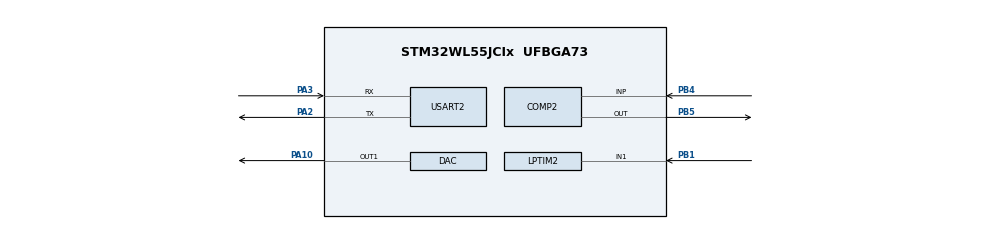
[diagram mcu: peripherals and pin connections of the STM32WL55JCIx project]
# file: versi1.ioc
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LPTIM2.TriggerSource=LPTIM_TRIGSOURCE_7
Mcu.Family=STM32WL
Mcu.Name=STM32WL55JCIx
Mcu.Package=UFBGA73
NVIC.PriorityGroup=NVIC_PRIORITYGROUP_4
OSC_IN.Mode=HSE-External-Oscillator
OSC_IN.Signal=RCC_OSC_IN
OSC_OUT.Mode=HSE-External-Oscillator
OSC_OUT.Signal=RCC_OSC_OUT
PA10.Signal=COMP_DAC1_group
PA2.Mode=Asynchronous
PA2.Signal=USART2_TX
PA3.Mode=Asynchronous
PA3.Signal=USART2_RX
PB1.Mode=Counts_external_clock_standalone_1X_occur1
PB1.Signal=LPTIM2_IN1
PB4.Mode=INP
PB4.Signal=COMP2_INP
PB5.Mode=ExternalOutput
PB5.Signal=COMP2_OUT
ProjectManager.HeapSize=0x200
ProjectManager.StackSize=0x400
ProjectManager.TargetToolchain=STM32CubeIDE
RCC.AHBFreq_Value=4000000
RCC.APB1Freq_Value=4000000
RCC.APB1TimFreq_Value=4000000
RCC.APB2Freq_Value=4000000
RCC.APB2TimFreq_Value=4000000
RCC.APB3Freq_Value=4000000
RCC.CortexFreq_Value=4000000
RCC.HCLKFreq_Value=4000000
RCC.HSE_VALUE=8000000
RCC.HSI_VALUE=16000000
RCC.LSE_VALUE=32768
RCC.SYSCLKFreq_VALUE=4000000
RCC.VCOOutputFreq_Value=32000000
SH.COMP_DAC1_group.0=DAC_OUT1,DAC_OUT1_ExtAndInt
USART2.VirtualMode-Asynchronous=VM_ASYNC
VP_COMP2_VS_DACOUT1.Mode=INM_DACOUT1
board=custom

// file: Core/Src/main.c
/* USER CODE BEGIN Header */
/**
  ******************************************************************************
  * @file           : main.c
  * @brief          : Main program body
  ******************************************************************************
  * @attention
  *
  * Copyright (c) 2022 STMicroelectronics.
  * All rights reserved.
  *
  * This software is licensed under terms that can be found in the LICENSE file
  * in the root directory of this software component.
  * If no LICENSE file comes with this software, it is provided AS-IS.
  *
  ******************************************************************************
  */
/* USER CODE END Header */
#include "main.h"

/* USER CODE BEGIN Includes */
#include <stdio.h>
/* USER CODE END Includes */

COMP_HandleTypeDef hcomp2;

DAC_HandleTypeDef hdac;

LPTIM_HandleTypeDef hlptim2;

UART_HandleTypeDef huart2;

void SystemClock_Config(void);
static void MX_GPIO_Init(void);
static void MX_DAC_Init(void);
static void MX_USART2_UART_Init(void);
static void MX_COMP2_Init(void);
static void MX_LPTIM2_Init(void);

/* USER CODE BEGIN 0 */
static void LC_GPIO_Init(void);
int _write(int file, char *ptr, int len){
	HAL_UART_Transmit(&huart2, (uint8_t*)ptr, len, HAL_MAX_DELAY);
	return len;
}

void delay_us (uint16_t us)
{
//	__HAL_TIM_SET_COUNTER(&htim2,0);  // set the counter value a 0
//	while (__HAL_TIM_GET_COUNTER(&htim2) < us);  // wait for the counter to reach the us input in the parameter
}

float val = 1.7;
uint32_t var;
/* USER CODE END 0 */

int main(void)
{

  /* MCU Configuration--------------------------------------------------------*/

  /* Reset of all peripherals, Initializes the Flash interface and the Systick. */
  HAL_Init();

  /* Configure the system clock */
  SystemClock_Config();

  /* Initialize all configured peripherals */
  MX_GPIO_Init();
  MX_DAC_Init();
  MX_USART2_UART_Init();
  MX_COMP2_Init();
  MX_LPTIM2_Init();
  /* USER CODE BEGIN 2 */
  //HAL_TIM_Base_Start_IT(&htim2);
  HAL_DAC_Start(&hdac, DAC_CHANNEL_1);
  var = val*(0xfff+1)/3.3;
  HAL_DAC_SetValue(&hdac, DAC_CHANNEL_1, DAC_ALIGN_12B_R, var);
  HAL_COMP_Start(&hcomp2);
  /* USER CODE END 2 */

  /* Infinite loop */
  while (1)
  {

    /* USER CODE BEGIN 3 */
//	  HAL_GPIO_WritePin(GPIOB, GPIO_PIN_4, SET);
//	  delay_us(2);
//	  HAL_GPIO_WritePin(GPIOB, GPIO_PIN_4, RESET);
//	  HAL_Delay(40);
//	  printf("Output Level -> %d\r\n", &hcomp2);
	  LC_GPIO_Init();

	  //printf("E:%l", HAL_LPTIM_ReadCounter(&hlptim2));
  }
  /* USER CODE END 3 */
}

void SystemClock_Config(void)
{
  RCC_OscInitTypeDef RCC_OscInitStruct = {0};
  RCC_ClkInitTypeDef RCC_ClkInitStruct = {0};

  /** Configure the main internal regulator output voltage
  */
  __HAL_PWR_VOLTAGESCALING_CONFIG(PWR_REGULATOR_VOLTAGE_SCALE2);

  /** Initializes the CPU, AHB and APB buses clocks
  */
  RCC_OscInitStruct.OscillatorType = RCC_OSCILLATORTYPE_MSI;
  RCC_OscInitStruct.MSIState = RCC_MSI_ON;
  RCC_OscInitStruct.MSICalibrationValue = RCC_MSICALIBRATION_DEFAULT;
  RCC_OscInitStruct.MSIClockRange = RCC_MSIRANGE_6;
  RCC_OscInitStruct.PLL.PLLState = RCC_PLL_NONE;
  if (HAL_RCC_OscConfig(&RCC_OscInitStruct) != HAL_OK)
  {
    Error_Handler();
  }

  /** Configure the SYSCLKSource, HCLK, PCLK1 and PCLK2 clocks dividers
  */
  RCC_ClkInitStruct.ClockType = RCC_CLOCKTYPE_HCLK3|RCC_CLOCKTYPE_HCLK
                              |RCC_CLOCKTYPE_SYSCLK|RCC_CLOCKTYPE_PCLK1
                              |RCC_CLOCKTYPE_PCLK2;
  RCC_ClkInitStruct.SYSCLKSource = RCC_SYSCLKSOURCE_MSI;
  RCC_ClkInitStruct.AHBCLKDivider = RCC_SYSCLK_DIV1;
  RCC_ClkInitStruct.APB1CLKDivider = RCC_HCLK_DIV1;
  RCC_ClkInitStruct.APB2CLKDivider = RCC_HCLK_DIV1;
  RCC_ClkInitStruct.AHBCLK3Divider = RCC_SYSCLK_DIV1;

  if (HAL_RCC_ClockConfig(&RCC_ClkInitStruct, FLASH_LATENCY_0) != HAL_OK)
  {
    Error_Handler();
  }
}

static void MX_COMP2_Init(void)
{

  hcomp2.Instance = COMP2;
  hcomp2.Init.InputMinus = COMP_INPUT_MINUS_DAC_CH1;
  hcomp2.Init.InputPlus = COMP_INPUT_PLUS_IO1;
  hcomp2.Init.OutputPol = COMP_OUTPUTPOL_NONINVERTED;
  hcomp2.Init.Hysteresis = COMP_HYSTERESIS_NONE;
  hcomp2.Init.BlankingSrce = COMP_BLANKINGSRC_NONE;
  hcomp2.Init.Mode = COMP_POWERMODE_HIGHSPEED;
  hcomp2.Init.WindowMode = COMP_WINDOWMODE_DISABLE;
  hcomp2.Init.TriggerMode = COMP_TRIGGERMODE_NONE;
  if (HAL_COMP_Init(&hcomp2) != HAL_OK)
  {
    Error_Handler();
  }

}

static void MX_DAC_Init(void)
{

  DAC_ChannelConfTypeDef sConfig = {0};

  /** DAC Initialization
  */
  hdac.Instance = DAC;
  if (HAL_DAC_Init(&hdac) != HAL_OK)
  {
    Error_Handler();
  }

  /** DAC channel OUT1 config
  */
  sConfig.DAC_SampleAndHold = DAC_SAMPLEANDHOLD_DISABLE;
  sConfig.DAC_Trigger = DAC_TRIGGER_NONE;
  sConfig.DAC_OutputBuffer = DAC_OUTPUTBUFFER_ENABLE;
  sConfig.DAC_ConnectOnChipPeripheral = DAC_CHIPCONNECT_ENABLE;
  sConfig.DAC_UserTrimming = DAC_TRIMMING_FACTORY;
  if (HAL_DAC_ConfigChannel(&hdac, &sConfig, DAC_CHANNEL_1) != HAL_OK)
  {
    Error_Handler();
  }

}

static void MX_LPTIM2_Init(void)
{

	hlptim2.Instance = LPTIM2;
	hlptim2.Init.Clock.Source = LPTIM_CLOCKSOURCE_ULPTIM;
	hlptim2.Init.Clock.Prescaler = LPTIM_PRESCALER_DIV1;
	hlptim2.Init.UltraLowPowerClock.Polarity = LPTIM_CLOCKPOLARITY_RISING;
	hlptim2.Init.UltraLowPowerClock.SampleTime = LPTIM_CLOCKSAMPLETIME_DIRECTTRANSITION;
	hlptim2.Init.Trigger.Source = LPTIM_TRIGSOURCE_SOFTWARE;
	hlptim2.Init.Trigger.ActiveEdge = LPTIM_ACTIVEEDGE_RISING;
	hlptim2.Init.Trigger.SampleTime = LPTIM_TRIGSAMPLETIME_DIRECTTRANSITION;
	hlptim2.Init.OutputPolarity = LPTIM_OUTPUTPOLARITY_HIGH;
	hlptim2.Init.UpdateMode = LPTIM_UPDATE_IMMEDIATE;
	hlptim2.Init.CounterSource = LPTIM_COUNTERSOURCE_EXTERNAL;
	hlptim2.Init.Input1Source = LPTIM_INPUT1SOURCE_COMP2;
	hlptim2.Init.Input2Source = LPTIM_INPUT2SOURCE_GPIO;
  if (HAL_LPTIM_Init(&hlptim2) != HAL_OK)
  {
	  Error_Handler();
  }
  /* USER CODE BEGIN LPTIM2_Init 2 */
  /* Start counting */
//  if (HAL_LPTIM_Counter_Start(&hlptim2, 0xFFFF) != HAL_OK)
//  {
//	  Error_Handler();
//  }
  /* USER CODE END LPTIM2_Init 2 */

}

static void MX_USART2_UART_Init(void)
{

  huart2.Instance = USART2;
  huart2.Init.BaudRate = 115200;
  huart2.Init.WordLength = UART_WORDLENGTH_8B;
  huart2.Init.StopBits = UART_STOPBITS_1;
  huart2.Init.Parity = UART_PARITY_NONE;
  huart2.Init.Mode = UART_MODE_TX_RX;
  huart2.Init.HwFlowCtl = UART_HWCONTROL_NONE;
  huart2.Init.OverSampling = UART_OVERSAMPLING_16;
  huart2.Init.OneBitSampling = UART_ONE_BIT_SAMPLE_DISABLE;
  huart2.Init.ClockPrescaler = UART_PRESCALER_DIV1;
  huart2.AdvancedInit.AdvFeatureInit = UART_ADVFEATURE_NO_INIT;
  if (HAL_UART_Init(&huart2) != HAL_OK)
  {
    Error_Handler();
  }
  if (HAL_UARTEx_SetTxFifoThreshold(&huart2, UART_TXFIFO_THRESHOLD_1_8) != HAL_OK)
  {
    Error_Handler();
  }
  if (HAL_UARTEx_SetRxFifoThreshold(&huart2, UART_RXFIFO_THRESHOLD_1_8) != HAL_OK)
  {
    Error_Handler();
  }
  if (HAL_UARTEx_DisableFifoMode(&huart2) != HAL_OK)
  {
    Error_Handler();
  }

}

static void MX_GPIO_Init(void)
{

  /* GPIO Ports Clock Enable */
  __HAL_RCC_GPIOB_CLK_ENABLE();
  __HAL_RCC_GPIOA_CLK_ENABLE();

}

/* USER CODE BEGIN 4 */
static void LC_GPIO_Init(void){
	__HAL_RCC_GPIOC_CLK_ENABLE();
	__HAL_RCC_GPIOH_CLK_ENABLE();
	__HAL_RCC_GPIOA_CLK_ENABLE();
	__HAL_RCC_GPIOB_CLK_ENABLE();

	GPIO_InitTypeDef GPIO_InitStruct = {0};
	GPIO_InitStruct.Mode = GPIO_MODE_AF_PP;
	GPIO_InitStruct.Alternate = GPIO_AF12_COMP2;
	GPIO_InitStruct.Speed = GPIO_SPEED_FREQ_LOW;
	GPIO_InitStruct.Pull = GPIO_NOPULL;
	GPIO_InitStruct.Pin = GPIO_PIN_4;
	HAL_GPIO_Init(GPIOB, &GPIO_InitStruct);

	GPIO_InitStruct.Pin = GPIO_PIN_0 | GPIO_PIN_1 | GPIO_PIN_2 | GPIO_PIN_3 | GPIO_PIN_4
		| GPIO_PIN_5 | GPIO_PIN_6 | GPIO_PIN_7 | GPIO_PIN_8
		| GPIO_PIN_9 | GPIO_PIN_10 | GPIO_PIN_11
		| GPIO_PIN_12 | GPIO_PIN_15;
	GPIO_InitStruct.Mode = GPIO_MODE_ANALOG;
	GPIO_InitStruct.Pull = GPIO_NOPULL;
	HAL_GPIO_Init(GPIOA, &GPIO_InitStruct);

	GPIO_InitStruct.Pin = GPIO_PIN_All;
	GPIO_InitStruct.Mode = GPIO_MODE_ANALOG;
	GPIO_InitStruct.Pull = GPIO_PULLDOWN;
	HAL_GPIO_Init(GPIOC, &GPIO_InitStruct);
	HAL_GPIO_Init(GPIOH, &GPIO_InitStruct);

	GPIO_InitStruct.Pin = GPIO_PIN_0 | GPIO_PIN_2 | GPIO_PIN_3 | GPIO_PIN_4
		| GPIO_PIN_6 | GPIO_PIN_7 | GPIO_PIN_8
		| GPIO_PIN_9 | GPIO_PIN_10 | GPIO_PIN_11
		| GPIO_PIN_12 | GPIO_PIN_13 | GPIO_PIN_14 | GPIO_PIN_15;

	GPIO_InitStruct.Mode = GPIO_MODE_ANALOG;
	GPIO_InitStruct.Pull = GPIO_PULLDOWN;
	HAL_GPIO_Init(GPIOB, &GPIO_InitStruct);

	GPIO_InitStruct.Mode = GPIO_MODE_ANALOG;
	GPIO_InitStruct.Speed = GPIO_SPEED_FREQ_HIGH;
	GPIO_InitStruct.Pull = GPIO_NOPULL;
	GPIO_InitStruct.Pin = GPIO_PIN_4;
	HAL_GPIO_Init(COMP_INPUT_PLUS_IO1, &GPIO_InitStruct);

	#ifdef COMP2_OUT_ENABLED
	  /* Configure COMP1 output pin configuration for debug*/
	  GPIO_InitStruct.Pin = GPIO_PIN_5;
	  GPIO_InitStruct.Mode = GPIO_MODE_AF_PP;
	  GPIO_InitStruct.Pull = GPIO_NOPULL;
	  GPIO_InitStruct.Speed = GPIO_SPEED_FREQ_HIGH;
	  GPIO_InitStruct.Alternate = GPIO_AF12_COMP2;
	  HAL_GPIO_Init(GPIOB, &GPIO_InitStruct);
	#endif /* ENABLE_COMP_OUT */
}
/* USER CODE END 4 */

void Error_Handler(void)
{
  __disable_irq();
  while (1)
  {
  }
}
